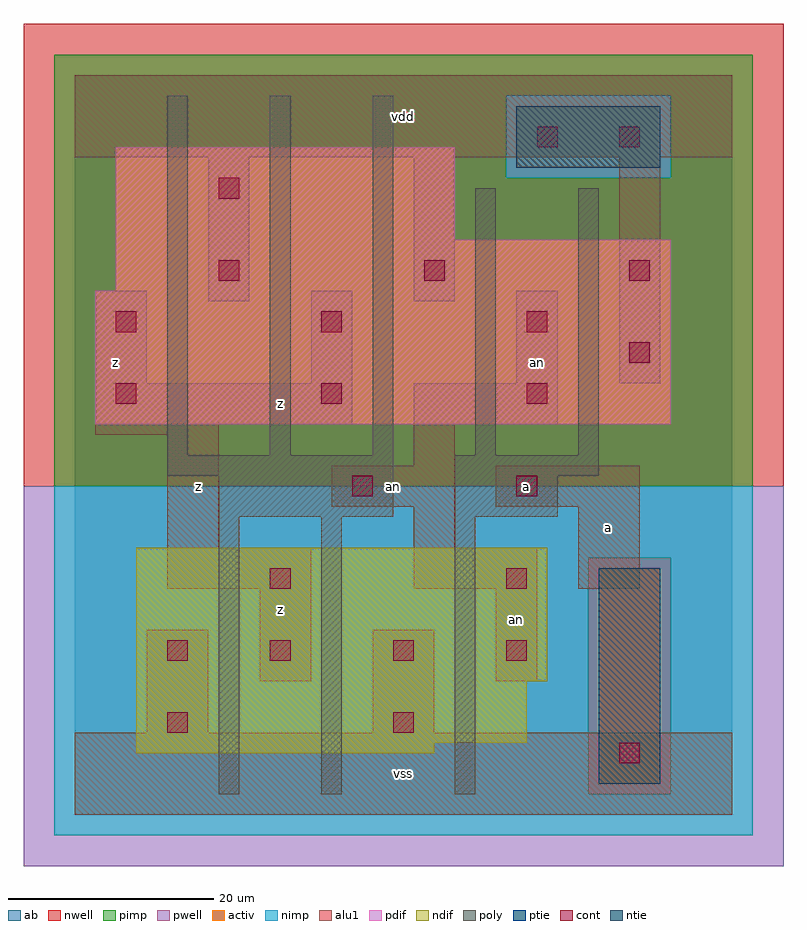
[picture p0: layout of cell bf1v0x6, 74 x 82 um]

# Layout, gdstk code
import gdstk
lib = gdstk.Library(unit=1e-6, precision=1e-09)
def R(c, l, rs):  # rectangles x0, y0, x1, y1
    for r in rs: c.add(gdstk.rectangle(r[:2], r[2:], *l))
def A(c, l, x, y, w, h, nx, ny, dx, dy):  # array of equal rectangles
    R(c, l, [(x+i*dx, y+j*dy, x+i*dx+w, y+j*dy+h) for i in range(nx) for j in range(ny)])
ndif = (3, 0)
pdif = (4, 0)
ntie = (5, 0)
ptie = (6, 0)
cont = (25, 0)
pwell = (41, 0)
nwell = (42, 0)
activ = (43, 0)
pimp = (44, 0)
nimp = (45, 0)
poly = (46, 0)
alu1 = (49, 0)
ab = (63, 0)

bf1v0x6 = lib.new_cell('bf1v0x6')
R(bf1v0x6, ndif, [(6,6,35,7), (6,7,44,13), (6,13,46,26)])
R(bf1v0x6, pdif, [(2,38,58,51), (4,51,58,56), (4,56,37,65)])
R(bf1v0x6, ntie, [(43,63,57,69)])
R(bf1v0x6, ptie, [(51,3,57,24)])
A(bf1v0x6, cont, 4, 40, 2, 2, 3, 2, 20, 7)
A(bf1v0x6, cont, 14, 52, 2, 2, 3, 1, 20, 0)
R(bf1v0x6, cont, [(53,5,55,7), (9,8,11,10), (31,8,33,10), (9,15,11,17), (19,15,21,17), (31,15,33,17), (42,15,44,17), (19,22,21,24), (42,22,44,24), (27,31,29,33), (43,31,45,33), (54,44,56,46), (14,60,16,62), (45,65,47,67), (53,65,55,67)])
R(bf1v0x6, pwell, [(-5,-5,69,32)])
R(bf1v0x6, nwell, [(-5,32,69,77)])
R(bf1v0x6, activ, [(51,3,57,24), (6,6,35,7), (6,7,44,13), (6,13,46,26), (2,38,58,51), (4,51,58,56), (4,56,37,65), (43,63,57,69)])
R(bf1v0x6, pimp, [(50,2,58,25), (-2,32,66,62), (-2,62,42,70), (58,62,66,70), (-2,70,66,74)])
R(bf1v0x6, nimp, [(-2,-2,66,2), (-2,2,50,25), (58,2,66,25), (-2,25,66,32), (42,62,58,70)])
A(bf1v0x6, poly, 9, 35, 2, 35, 3, 1, 10, 0)
R(bf1v0x6, poly, [(14,2,16,29), (24,2,26,29), (37,2,39,29), (14,29,31,33), (37,29,47,33), (9,33,31,35), (37,33,51,35), (39,35,41,61), (49,35,51,61)])
R(bf1v0x6, alu1, [(0,0,64,8), (7,8,13,18), (29,8,35,18), (18,13,23,22), (41,13,45,22), (9,22,23,26), (33,22,45,26), (49,22,55,30), (9,26,14,37), (33,26,37,30), (25,30,37,34), (41,30,55,34), (33,34,37,38), (2,37,14,38), (2,38,27,42), (33,38,47,42), (2,42,7,51), (23,42,27,51), (43,42,47,51), (53,42,57,64), (13,50,17,64), (33,50,37,64), (0,64,64,72)])
R(bf1v0x6, ab, [(0,0,64,72)])
bf1v0x6.add(gdstk.Label('an', (31,32), layer=49, texttype=0))
bf1v0x6.add(gdstk.Label('an', (43,19), layer=49, texttype=0))
bf1v0x6.add(gdstk.Label('an', (45,44), layer=49, texttype=0))
bf1v0x6.add(gdstk.Label('z', (12,32), layer=49, texttype=0))
bf1v0x6.add(gdstk.Label('z', (4,44), layer=49, texttype=0))
bf1v0x6.add(gdstk.Label('z', (20,20), layer=49, texttype=0))
bf1v0x6.add(gdstk.Label('z', (20,40), layer=49, texttype=0))
bf1v0x6.add(gdstk.Label('vss', (32,4), layer=49, texttype=0))
bf1v0x6.add(gdstk.Label('a', (44,32), layer=49, texttype=0))
bf1v0x6.add(gdstk.Label('vdd', (32,68), layer=49, texttype=0))
bf1v0x6.add(gdstk.Label('a', (52,28), layer=49, texttype=0))

lib.write_gds('bf1v0x6.gds')
